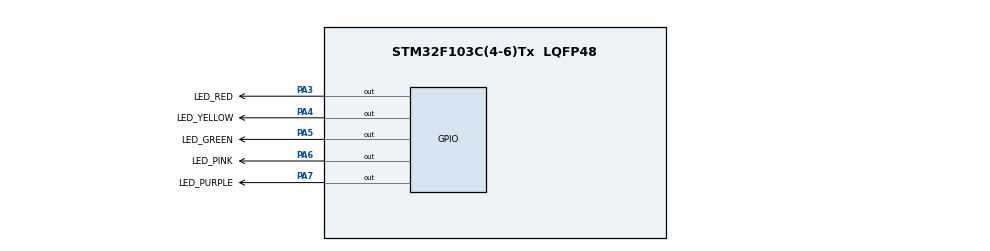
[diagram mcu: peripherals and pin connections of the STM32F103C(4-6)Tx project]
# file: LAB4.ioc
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Mcu.Family=STM32F1
Mcu.Name=STM32F103C(4-6)Tx
Mcu.Package=LQFP48
NVIC.PriorityGroup=NVIC_PRIORITYGROUP_4
NVIC.TIM2_IRQn=true\:0\:0\:false\:false\:true\:true\:true\:true
PA3.GPIO_Label=LED_RED
PA3.Signal=GPIO_Output
PA4.GPIO_Label=LED_YELLOW
PA4.Signal=GPIO_Output
PA5.GPIO_Label=LED_GREEN
PA5.Signal=GPIO_Output
PA6.GPIO_Label=LED_PINK
PA6.Signal=GPIO_Output
PA7.GPIO_Label=LED_PURPLE
PA7.Signal=GPIO_Output
ProjectManager.HeapSize=0x200
ProjectManager.StackSize=0x400
ProjectManager.TargetToolchain=STM32CubeIDE
RCC.APB1Freq_Value=8000000
RCC.APB2Freq_Value=8000000
TIM2.Period=9
TIM2.Prescaler=7999
VP_SYS_VS_ND.Mode=No_Debug
VP_TIM2_VS_ClockSourceINT.Mode=Internal
board=custom

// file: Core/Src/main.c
/* USER CODE BEGIN Header */
/**
  ******************************************************************************
  * @file           : main.c
  * @brief          : Main program body
  ******************************************************************************
  * @attention
  *
  * Copyright (c) 2024 STMicroelectronics.
  * All rights reserved.
  *
  * This software is licensed under terms that can be found in the LICENSE file
  * in the root directory of this software component.
  * If no LICENSE file comes with this software, it is provided AS-IS.
  *
  ******************************************************************************
  */
/* USER CODE END Header */
#include "main.h"

/* USER CODE BEGIN Includes */
#include "scheduler.h"
/* USER CODE END Includes */

TIM_HandleTypeDef htim2;

void SystemClock_Config(void);
static void MX_GPIO_Init(void);
static void MX_TIM2_Init(void);

/* USER CODE BEGIN 0 */
void toggle_red(void)
{
	HAL_GPIO_TogglePin(LED_RED_GPIO_Port, LED_RED_Pin);
}

void toggle_yellow(void)
{
	HAL_GPIO_TogglePin(LED_YELLOW_GPIO_Port, LED_YELLOW_Pin);
}

void toggle_green(void)
{
	HAL_GPIO_TogglePin(LED_GREEN_GPIO_Port, LED_GREEN_Pin);
}

void toggle_pink(void)
{
	HAL_GPIO_TogglePin(LED_PINK_GPIO_Port, LED_PINK_Pin);
}

void toggle_purple(void)
{
	HAL_GPIO_TogglePin(LED_PURPLE_GPIO_Port, LED_PURPLE_Pin);
}
/* USER CODE END 0 */

int main(void)
{

  /* MCU Configuration--------------------------------------------------------*/

  /* Reset of all peripherals, Initializes the Flash interface and the Systick. */
  HAL_Init();

  /* Configure the system clock */
  SystemClock_Config();

  /* Initialize all configured peripherals */
  MX_GPIO_Init();
  MX_TIM2_Init();
  /* USER CODE BEGIN 2 */
  SCH_Init();
  SCH_Add_Task(toggle_red, 100, 50, normal);
  SCH_Add_Task(toggle_yellow, 200, 150, normal);
  SCH_Add_Task(toggle_purple, 2000, 3000, oneshot);
  SCH_Add_Task(toggle_green, 50, 700, normal);
  SCH_Add_Task(toggle_pink, 250, 300, normal);

	HAL_TIM_Base_Start_IT(&htim2);
  /* USER CODE END 2 */

  /* Infinite loop */
  while (1)
  {
	  SCH_Dispatch_Tasks();
  }
}

void SystemClock_Config(void)
{
  RCC_OscInitTypeDef RCC_OscInitStruct = {0};
  RCC_ClkInitTypeDef RCC_ClkInitStruct = {0};

  /** Initializes the RCC Oscillators according to the specified parameters
  * in the RCC_OscInitTypeDef structure.
  */
  RCC_OscInitStruct.OscillatorType = RCC_OSCILLATORTYPE_HSI;
  RCC_OscInitStruct.HSIState = RCC_HSI_ON;
  RCC_OscInitStruct.HSICalibrationValue = RCC_HSICALIBRATION_DEFAULT;
  RCC_OscInitStruct.PLL.PLLState = RCC_PLL_NONE;
  if (HAL_RCC_OscConfig(&RCC_OscInitStruct) != HAL_OK)
  {
    Error_Handler();
  }

  /** Initializes the CPU, AHB and APB buses clocks
  */
  RCC_ClkInitStruct.ClockType = RCC_CLOCKTYPE_HCLK|RCC_CLOCKTYPE_SYSCLK
                              |RCC_CLOCKTYPE_PCLK1|RCC_CLOCKTYPE_PCLK2;
  RCC_ClkInitStruct.SYSCLKSource = RCC_SYSCLKSOURCE_HSI;
  RCC_ClkInitStruct.AHBCLKDivider = RCC_SYSCLK_DIV1;
  RCC_ClkInitStruct.APB1CLKDivider = RCC_HCLK_DIV1;
  RCC_ClkInitStruct.APB2CLKDivider = RCC_HCLK_DIV1;

  if (HAL_RCC_ClockConfig(&RCC_ClkInitStruct, FLASH_LATENCY_0) != HAL_OK)
  {
    Error_Handler();
  }
}

static void MX_TIM2_Init(void)
{

  TIM_ClockConfigTypeDef sClockSourceConfig = {0};
  TIM_MasterConfigTypeDef sMasterConfig = {0};

  htim2.Instance = TIM2;
  htim2.Init.Prescaler = 7999;
  htim2.Init.CounterMode = TIM_COUNTERMODE_UP;
  htim2.Init.Period = 9;
  htim2.Init.ClockDivision = TIM_CLOCKDIVISION_DIV1;
  htim2.Init.AutoReloadPreload = TIM_AUTORELOAD_PRELOAD_DISABLE;
  if (HAL_TIM_Base_Init(&htim2) != HAL_OK)
  {
    Error_Handler();
  }
  sClockSourceConfig.ClockSource = TIM_CLOCKSOURCE_INTERNAL;
  if (HAL_TIM_ConfigClockSource(&htim2, &sClockSourceConfig) != HAL_OK)
  {
    Error_Handler();
  }
  sMasterConfig.MasterOutputTrigger = TIM_TRGO_RESET;
  sMasterConfig.MasterSlaveMode = TIM_MASTERSLAVEMODE_DISABLE;
  if (HAL_TIMEx_MasterConfigSynchronization(&htim2, &sMasterConfig) != HAL_OK)
  {
    Error_Handler();
  }

}

static void MX_GPIO_Init(void)
{
  GPIO_InitTypeDef GPIO_InitStruct = {0};

  /* GPIO Ports Clock Enable */
  __HAL_RCC_GPIOA_CLK_ENABLE();

  /*Configure GPIO pin Output Level */
  HAL_GPIO_WritePin(GPIOA, LED_RED_Pin|LED_YELLOW_Pin|LED_GREEN_Pin|LED_PINK_Pin
                          |LED_PURPLE_Pin, GPIO_PIN_RESET);

  /*Configure GPIO pins : LED_RED_Pin LED_YELLOW_Pin LED_GREEN_Pin LED_PINK_Pin
                           LED_PURPLE_Pin */
  GPIO_InitStruct.Pin = LED_RED_Pin|LED_YELLOW_Pin|LED_GREEN_Pin|LED_PINK_Pin
                          |LED_PURPLE_Pin;
  GPIO_InitStruct.Mode = GPIO_MODE_OUTPUT_PP;
  GPIO_InitStruct.Pull = GPIO_NOPULL;
  GPIO_InitStruct.Speed = GPIO_SPEED_FREQ_LOW;
  HAL_GPIO_Init(GPIOA, &GPIO_InitStruct);

}

/* USER CODE BEGIN 4 */
void HAL_TIM_PeriodElapsedCallback ( TIM_HandleTypeDef * htim )
{
	SCH_Update();
}
/* USER CODE END 4 */

void Error_Handler(void)
{
  __disable_irq();
  while (1)
  {
  }
}
